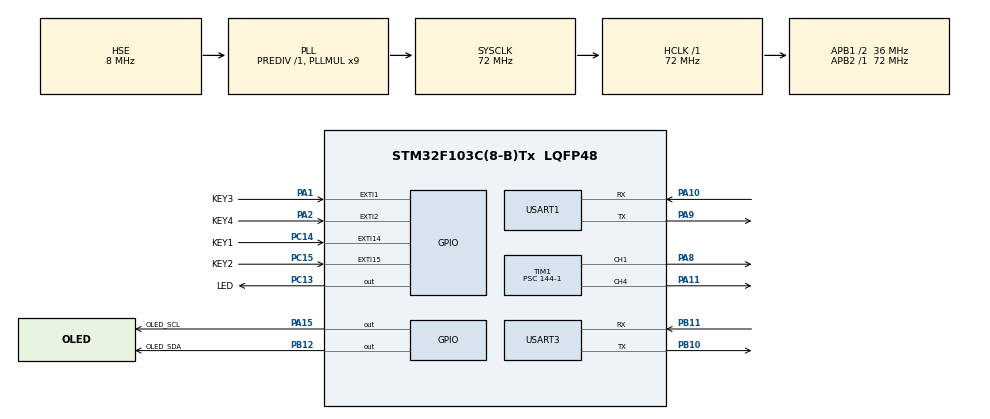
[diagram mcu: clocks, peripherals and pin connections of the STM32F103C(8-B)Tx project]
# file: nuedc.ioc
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Mcu.Family=STM32F1
Mcu.Name=STM32F103C(8-B)Tx
Mcu.Package=LQFP48
NVIC.EXTI15_10_IRQn=true\:0\:0\:false\:false\:true\:true\:true\:true
NVIC.EXTI1_IRQn=true\:0\:0\:false\:false\:true\:true\:true\:true
NVIC.EXTI2_IRQn=true\:0\:0\:false\:false\:true\:true\:true\:true
NVIC.PriorityGroup=NVIC_PRIORITYGROUP_4
NVIC.TIM3_IRQn=true\:0\:0\:false\:false\:true\:true\:true\:true
NVIC.USART1_IRQn=true\:0\:0\:false\:false\:true\:true\:true\:true
PA1.GPIO_Label=KEY3
PA1.GPIO_PuPd=GPIO_PULLUP
PA1.Signal=GPXTI1
PA10.Mode=Asynchronous
PA10.Signal=USART1_RX
PA11.Signal=S_TIM1_CH4
PA13.Mode=Serial_Wire
PA13.Signal=SYS_JTMS-SWDIO
PA14.Mode=Serial_Wire
PA14.Signal=SYS_JTCK-SWCLK
PA15.GPIO_Label=OLED_SCL
PA15.GPIO_PuPd=GPIO_PULLUP
PA15.PinState=GPIO_PIN_SET
PA15.Signal=GPIO_Output
PA2.GPIO_Label=KEY4
PA2.GPIO_PuPd=GPIO_PULLUP
PA2.Signal=GPXTI2
PA8.Signal=S_TIM1_CH1
PA9.Mode=Asynchronous
PA9.Signal=USART1_TX
PB10.Mode=Asynchronous
PB10.Signal=USART3_TX
PB11.Mode=Asynchronous
PB11.Signal=USART3_RX
PB12.GPIO_Label=OLED_SDA
PB12.GPIO_PuPd=GPIO_PULLUP
PB12.PinState=GPIO_PIN_SET
PB12.Signal=GPIO_Output
PC13-TAMPER-RTC.GPIO_Label=LED
PC13-TAMPER-RTC.Signal=GPIO_Output
PC14-OSC32_IN.GPIO_Label=KEY1
PC14-OSC32_IN.GPIO_PuPd=GPIO_PULLUP
PC14-OSC32_IN.Signal=GPXTI14
PC15-OSC32_OUT.GPIO_Label=KEY2
PC15-OSC32_OUT.GPIO_PuPd=GPIO_PULLUP
PC15-OSC32_OUT.Signal=GPXTI15
PD0-OSC_IN.Mode=HSE-External-Oscillator
PD0-OSC_IN.Signal=RCC_OSC_IN
PD1-OSC_OUT.Mode=HSE-External-Oscillator
PD1-OSC_OUT.Signal=RCC_OSC_OUT
ProjectManager.HeapSize=0x200
ProjectManager.StackSize=0x400
ProjectManager.TargetToolchain=MDK-ARM V5.32
RCC.AHBFreq_Value=72000000
RCC.APB1CLKDivider=RCC_HCLK_DIV2
RCC.APB1Freq_Value=36000000
RCC.APB1TimFreq_Value=72000000
RCC.APB2Freq_Value=72000000
RCC.APB2TimFreq_Value=72000000
RCC.HCLKFreq_Value=72000000
RCC.PLLMUL=RCC_PLL_MUL9
RCC.PLLSourceVirtual=RCC_PLLSOURCE_HSE
RCC.SYSCLKFreq_VALUE=72000000
RCC.SYSCLKSource=RCC_SYSCLKSOURCE_PLLCLK
RCC.USBFreq_Value=72000000
SH.S_TIM1_CH1.0=TIM1_CH1,PWM Generation1 CH1
SH.S_TIM1_CH4.0=TIM1_CH4,PWM Generation4 CH4
TIM1.AutoReloadPreload=TIM_AUTORELOAD_PRELOAD_ENABLE
TIM1.Channel-PWM\ Generation1\ CH1=TIM_CHANNEL_1
TIM1.Channel-PWM\ Generation4\ CH4=TIM_CHANNEL_4
TIM1.Period=10000-1
TIM1.Prescaler=144-1
TIM1.Pulse-PWM\ Generation1\ CH1=50
TIM3.AutoReloadPreload=TIM_AUTORELOAD_PRELOAD_ENABLE
TIM3.Period=65535
TIM3.Prescaler=72
USART1.VirtualMode=VM_ASYNC
USART3.VirtualMode=VM_ASYNC
VP_TIM1_VS_ClockSourceINT.Mode=Internal
VP_TIM3_VS_ClockSourceINT.Mode=Internal
board=custom

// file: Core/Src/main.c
/* USER CODE BEGIN Header */
/**
  ******************************************************************************
  * @file           : main.c
  * @brief          : Main program body
  ******************************************************************************
  * @attention
  *
  * Copyright (c) 2023 STMicroelectronics.
  * All rights reserved.
  *
  * This software is licensed under terms that can be found in the LICENSE file
  * in the root directory of this software component.
  * If no LICENSE file comes with this software, it is provided AS-IS.
  *
  ******************************************************************************
  */
/* USER CODE END Header */
#include "main.h"
#include "tim.h"
#include "usart.h"
#include "gpio.h"

/* USER CODE BEGIN Includes */

#include "stdio.h"
#include "oled.h"
#include "paixu.h"
#include "pid.h"
#include "oled_page.h"
/* USER CODE END Includes */

/* USER CODE BEGIN PTD */
//uint8_t rx_data[1];
uint8_t g_ucUsart1ReceiveData;

 uint8_t state = 0;
uint8_t g_ucaUsart2ReceiveBuffer[20];//保存串口接收有效数据的数组
uint8_t g_ucUsart1ReceivCounter=0;//串口接收计数值
uint8_t g_ucUsart1ReceiveCompletionFlag;//串口二接收完成标志位 1:接收完成 可以进行处理 0:接收未完成或者接受中

uint8_t key_flag=0;

uint16_t page=0;//当前所处的页号，0为初始界面，1为第一个题目页面，2为第二个题目页面
uint16_t page0_column=0;//初始页面中的选项编号
uint16_t page1_column=0;//第一个题目页面中的选项编号
uint16_t page2_column=0;//第二个题目页面中的选项编号
uint16_t page3_column=0;//调试页面中的选项编号
uint8_t key_flagA,key_flagB,key_flagC,key_flagD;

int move_debug;

#define speed_move  100//100
/* USER CODE END PTD */

void SystemClock_Config(void);

int main(void)
{
  /* USER CODE BEGIN 1 */
//uint8_t string[20];
  /* USER CODE END 1 */

  /* MCU Configuration--------------------------------------------------------*/

  /* Reset of all peripherals, Initializes the Flash interface and the Systick. */
  HAL_Init();

  /* Configure the system clock */
  SystemClock_Config();

  /* Initialize all configured peripherals */
  MX_GPIO_Init();
  MX_TIM1_Init();
  MX_USART1_UART_Init();
  MX_TIM3_Init();
  MX_USART3_UART_Init();
  /* USER CODE BEGIN 2 */

	OLED_Init(); //初始化OLED
    OLED_Clear();//清屏

   HAL_UART_Receive_IT(&huart1, &g_ucUsart1ReceiveData, 1);//串口接收中断

		//舵机
  HAL_TIM_PWM_Start(&htim1,TIM_CHANNEL_1);//开启定时器1 通道1 PWM输出
  HAL_TIM_PWM_Start(&htim1,TIM_CHANNEL_4);//开启定时器1 通道4 PWM输出
  HAL_TIM_PWM_Start(&htim3,TIM_CHANNEL_1);//开启定时器1 通道4 PWM输出
   __HAL_TIM_SET_COMPARE(&htim1, TIM_CHANNEL_4, 770);  //水平 PA11 750
   __HAL_TIM_SET_COMPARE(&htim1, TIM_CHANNEL_1, 740);  //竖直 PA8  605
//    HAL_Delay(2000);
//slow_motion (0, 0, 0, 250,2);

/////////////////////////////////////////////////////////////////测试区

/////////////////////////////////////////////////////////////////测试区

  /* USER CODE END 2 */

  /* Infinite loop */
  /* USER CODE BEGIN WHILE */
  while (1)
  {

//shunshizhen_4paixv_change();

		if(key_flag==1)
      {

//          HAL_Delay(2000);
//      slow_motion (0, 0, 0, 235,100);
//      slow_motion (0, 260, 235, 235,100);
//      slow_motion (260, 260, 235,0,100);
//      slow_motion (260, 260, 0,-255,100);
//      slow_motion (260, -260, -255, -255,100);
//      slow_motion (-260, -260, -255, 250,100);
//      slow_motion (-260, -260, 250, 250,100);
//      slow_motion (-260, 0, 250, 250,100);
//      slow_motion (0, 0, 250, 0,100);

//      slow_motion (0, 0, 0, -250,speed_move);
//      slow_motion (0, -250, -250, -250,speed_move);
//      slow_motion (-250, -250, -250, 250,speed_move);
//      slow_motion (-250, 0, 250, 250,speed_move);
//      slow_motion (0, 250, 250, 250,speed_move);
//      slow_motion (250, 250, 250, -250,speed_move);
//      slow_motion (250, 0, -250, -250,speed_move);
//      slow_motion (0, 0, -250, 0,speed_move);
/*111*/
//      slow_motion (0, -250, 0, -250,speed_move);
//      slow_motion (-250, -250, -250, 250,speed_move);
//      slow_motion (-250, 250, 250, 250,speed_move);
//      slow_motion (250, 250, 250, -250,speed_move);
//      slow_motion (250, -250, -250, -250,speed_move);
//      slow_motion (-250, 0, -250, 0,speed_move);

      slow_motion (0, 250, 0, 250,0);
      slow_motion (250, 250, 250, -250,speed_move);
      slow_motion (250, -250, -250, -250,speed_move);
      slow_motion (-250, -250, -250, 240+move_debug,speed_move);//240+c
      slow_motion (-250, 250, 240+move_debug, 240+move_debug,speed_move);//240+c
      slow_motion (250, 0, 250, 0,speed_move);

//      slow_motion (250, 0, -250, -250,speed_move);
//      slow_motion (0, 0, -250, 0,speed_move);
//
//          /*PC1 低片平触发，扫框*/
//      slow_motion (0, 0, 250, 0,100);
//      slow_motion (0, -270, 0, 0,100);
//      slow_motion (-270, -270, 0, 500,100);
//      slow_motion (-270, 0, 500, 500,100);
//      slow_motion (0, 280, 500, 500,100);
//      slow_motion (280, 280, 500, 0,100);
//      slow_motion (280, 0, 0, 0,100);
//      slow_motion (0, 0, 0, 0,100);

//      slow_motion (0, -70, 0, 375,100);
//          HAL_Delay(1000);
//      slow_motion (-70,105 , 375, 370,100);
//          HAL_Delay(1000);
//      slow_motion (105, 105, 370, 130,100);
//          HAL_Delay(1000);
//      slow_motion (105, -70, 130, 130,100);
//          HAL_Delay(1000);
//      slow_motion (-70, -70, 130, 375,100);
//          HAL_Delay(1000);

      key_flag=0;
      }

      /*PC15 低片平触发，复位*/
        if(key_flag==2)
      {
      slow_motion (250, 0, 240, 0,0);

      key_flag=0;
       }
      shunshizhen_4paixv_change();
        if(key_flag==3)
      {
      shunshizhen_4paixv_change();
          change_pwmset();
      key_flag=0;
       }

//

		if(g_ucUsart1ReceiveCompletionFlag == 1)
			{

////				sprintf((char *)string,"  %d  ",g_ucaUsart2ReceiveBuffer[2]-40);//显示6050数据
////				OLED_ShowString(0,1,string,12);
////				sprintf((char *)string,"  %d  ",g_ucaUsart2ReceiveBuffer[3]-40);//显示6050数据
////				OLED_ShowString(50,1,string,12);
////				sprintf((char *)string,"  %d  ",g_ucaUsart2ReceiveBuffer[4]-40);//显示6050数据
////				OLED_ShowString(0,3,string,12);
////				sprintf((char *)string,"  %d  ",g_ucaUsart2ReceiveBuffer[5]-40);//显示6050数据
////				OLED_ShowString(50,3,string,12);
////				sprintf((char *)string,"  %d  ",g_ucaUsart2ReceiveBuffer[6]-40);//显示6050数据
////				OLED_ShowString(0,5,string,12);
////				sprintf((char *)string,"  %d  ",g_ucaUsart2ReceiveBuffer[7]-40);//显示6050数据
////				OLED_ShowString(50,5,string,12);
////				sprintf((char *)string,"  %d  ",g_ucaUsart2ReceiveBuffer[8]-40);//显示6050数据
////				OLED_ShowString(0,7,string,12);
////				sprintf((char *)string,"  %d  ",g_ucaUsart2ReceiveBuffer[9]-40);//显示6050数据
////				OLED_ShowString(50,7,string,12);
//				sprintf((char *)string,"  %d  ",g_ucaUsart2ReceiveBuffer[10]);//显示6050数据
//				OLED_ShowString(0,9,string,12);
//				sprintf((char *)string,"  %d  ",g_ucaUsart2ReceiveBuffer[11]);//显示6050数据
//				OLED_ShowString(3,9,string,12);

				for(int i=0;i<20;i++) g_ucaUsart2ReceiveBuffer[i]=0x00;//清空数组
				g_ucUsart1ReceiveCompletionFlag = 0;//使用数据后置为0
			}

/////////////////////////////////////////////////////////////////测试区 随意删除不影响系统

HAL_GPIO_TogglePin(GPIOC,GPIO_PIN_13);

		oled_change();

/////////////////////////////////////////////////////////////////测试区
    /* USER CODE END WHILE */

  }
}

void SystemClock_Config(void)
{
  RCC_OscInitTypeDef RCC_OscInitStruct = {0};
  RCC_ClkInitTypeDef RCC_ClkInitStruct = {0};

  /** Initializes the RCC Oscillators according to the specified parameters
  * in the RCC_OscInitTypeDef structure.
  */
  RCC_OscInitStruct.OscillatorType = RCC_OSCILLATORTYPE_HSE;
  RCC_OscInitStruct.HSEState = RCC_HSE_ON;
  RCC_OscInitStruct.HSEPredivValue = RCC_HSE_PREDIV_DIV1;
  RCC_OscInitStruct.HSIState = RCC_HSI_ON;
  RCC_OscInitStruct.PLL.PLLState = RCC_PLL_ON;
  RCC_OscInitStruct.PLL.PLLSource = RCC_PLLSOURCE_HSE;
  RCC_OscInitStruct.PLL.PLLMUL = RCC_PLL_MUL9;
  if (HAL_RCC_OscConfig(&RCC_OscInitStruct) != HAL_OK)
  {
    Error_Handler();
  }

  /** Initializes the CPU, AHB and APB buses clocks
  */
  RCC_ClkInitStruct.ClockType = RCC_CLOCKTYPE_HCLK|RCC_CLOCKTYPE_SYSCLK
                              |RCC_CLOCKTYPE_PCLK1|RCC_CLOCKTYPE_PCLK2;
  RCC_ClkInitStruct.SYSCLKSource = RCC_SYSCLKSOURCE_PLLCLK;
  RCC_ClkInitStruct.AHBCLKDivider = RCC_SYSCLK_DIV1;
  RCC_ClkInitStruct.APB1CLKDivider = RCC_HCLK_DIV2;
  RCC_ClkInitStruct.APB2CLKDivider = RCC_HCLK_DIV1;

  if (HAL_RCC_ClockConfig(&RCC_ClkInitStruct, FLASH_LATENCY_2) != HAL_OK)
  {
    Error_Handler();
  }
}

/* USER CODE BEGIN 4 */
//////////////////////////////////////////////////////////////////////////////

/*串口中断回调函数*/
void HAL_UART_RxCpltCallback(UART_HandleTypeDef *huart)
{
  if (huart == &huart1)
  {

		//
		usartCamera_Receive_Data(g_ucUsart1ReceiveData);//通信处理功能

  }
	 HAL_UART_Receive_IT(&huart1, &g_ucUsart1ReceiveData, 1);
}

void usartCamera_Receive_Data(uint8_t data)
{
//	static uint8_t state = 0;
	if(state==0&&data==0xA5) //第一个是不是帧头0xA5
	{
		state=1;
		g_ucaUsart2ReceiveBuffer[g_ucUsart1ReceivCounter++]=data;
		HAL_UART_Receive_IT(&huart1,&g_ucUsart1ReceiveData,1);  //串口二接收数据
	}
	else if(state==1&&data==0xA6) //第二个是不是帧头0xA6
	{
		state=2;
		g_ucaUsart2ReceiveBuffer[g_ucUsart1ReceivCounter++]=data;
		HAL_UART_Receive_IT(&huart1,&g_ucUsart1ReceiveData,1);  //串口二接收数据
	}
	else if(state==2)//然后确定开头是0XA5 0XA6 就开始接收
	{
		g_ucaUsart2ReceiveBuffer[g_ucUsart1ReceivCounter++]=data;
		if(g_ucUsart1ReceivCounter>14||data==0x5B) state=3;  //接收大于9个或者接收到帧尾0X5B 就置位状态三
		HAL_UART_Receive_IT(&huart1,&g_ucUsart1ReceiveData,1);  //串口二接收数据
	}
	else if(state==3) //状态三
	{
		if(g_ucaUsart2ReceiveBuffer[g_ucUsart1ReceivCounter-1] == 0x5B)  //最后一个是不是0x5B帧尾
		{
			state = 0;//这里就可以处理数据了、处理完记得清空数组和重置标志位与计数值
			//比如根据数据设置红外旋转偏移状态
//			if(g_ucMode == 7)
//			{
				//1.设置快速 慢速右边 左边&&g_ucaUsart2ReceiveBuffer[4]==1

				/**
				 if(g_ucaUsart2ReceiveBuffer[6]==0&&g_ucaUsart2ReceiveBuffer[5]==0&&g_ucaUsart2ReceiveBuffer[3]==0&&g_ucaUsart2ReceiveBuffer[2]==0)
				 {g_cThisState=0;//前进
				 g_lHW_State=00200;
				 }
				 if(g_ucaUsart2ReceiveBuffer[6]==0&&g_ucaUsart2ReceiveBuffer[5]==1&&g_ucaUsart2ReceiveBuffer[3]==0&&g_ucaUsart2ReceiveBuffer[2]==0)
				 {g_cThisState=-1;//应该右转
				 g_lHW_State=00210;
				 }
				 if(g_ucaUsart2ReceiveBuffer[6]==1&&g_ucaUsart2ReceiveBuffer[5]==0&&g_ucaUsart2ReceiveBuffer[3]==0&&g_ucaUsart2ReceiveBuffer[2]==0)
				 {g_cThisState=-2;//快速右转
				 g_lHW_State=00201;
				 }
				 if(g_ucaUsart2ReceiveBuffer[6]==1&&g_ucaUsart2ReceiveBuffer[5]==1&&g_ucaUsart2ReceiveBuffer[3]==0&&g_ucaUsart2ReceiveBuffer[2]==0)
				 {g_cThisState=-3;//快速右转
				 g_lHW_State=00211;
				 }
				 if(g_ucaUsart2ReceiveBuffer[6]==0&&g_ucaUsart2ReceiveBuffer[5]==0&&g_ucaUsart2ReceiveBuffer[3]==1&&g_ucaUsart2ReceiveBuffer[2]==0)
				 {g_cThisState=1;//应该左转
				 g_lHW_State=01200;
				 }
                 if(g_ucaUsart2ReceiveBuffer[6]==0&&g_ucaUsart2ReceiveBuffer[5]==0&&g_ucaUsart2ReceiveBuffer[3]==0&&g_ucaUsart2ReceiveBuffer[2]==1)
				 {g_cThisState=2;//快速左转
				 g_lHW_State=10200;
				 }
                 if(g_ucaUsart2ReceiveBuffer[6]==0&&g_ucaUsart2ReceiveBuffer[5]==0&&g_ucaUsart2ReceiveBuffer[3]==1&&g_ucaUsart2ReceiveBuffer[2]==1)
				 {g_cThisState=3;//快速左转
				 g_lHW_State=1;
				 }
				 //如果都是红线 都是1 就置为相应变量 表示停止运行等
				 if(g_ucaUsart2ReceiveBuffer[6]==1&&g_ucaUsart2ReceiveBuffer[5]==1&&g_ucaUsart2ReceiveBuffer[4]==1&&g_ucaUsart2ReceiveBuffer[3]==1&&g_ucaUsart2ReceiveBuffer[2]==1)g_lHW_State=11111;

				 //五个点都没有的时候认为走到了尽头
				 if(g_ucaUsart2ReceiveBuffer[6]==0&&g_ucaUsart2ReceiveBuffer[5]==0&&g_ucaUsart2ReceiveBuffer[4]==0&&g_ucaUsart2ReceiveBuffer[3]==0&&g_ucaUsart2ReceiveBuffer[2]==0)g_lHW_State=0;
				 //只有中间是红线时候
				 if(g_ucaUsart2ReceiveBuffer[6]==0&&g_ucaUsart2ReceiveBuffer[5]==0&&g_ucaUsart2ReceiveBuffer[4]==1&&g_ucaUsart2ReceiveBuffer[3]==0&&g_ucaUsart2ReceiveBuffer[2]==0)g_lHW_State=100;

				 **/
				//2.然后清空数组
//				for(int i=0;i<10;i++) g_ucaUsart2ReceiveBuffer[i]=0x00;//清空数组
				g_ucUsart1ReceiveCompletionFlag = 1;
				//3.然后开始接收
				HAL_UART_Receive_IT(&huart1,&g_ucUsart1ReceiveData,1);  //串口二接收数据
//			}
		}
		else //不是帧尾说明通信错误重新开始接收
		{
			state=0;
			g_ucUsart1ReceivCounter =0;
			//for(int i=0;i<10;i++) g_ucaUsart2ReceiveBuffer[i]=0x00;//清空数组
			g_ucUsart1ReceiveCompletionFlag = 0;
			HAL_UART_Receive_IT(&huart1,&g_ucUsart1ReceiveData,1);  //串口二接收数据
		}
	}
	else
	{	//其他异常清空
		state=0;
		g_ucUsart1ReceivCounter =0;
		//for(int i=0;i<10;i++) g_ucaUsart2ReceiveBuffer[i]=0x00;//清空数组
		g_ucUsart1ReceiveCompletionFlag = 0;
		HAL_UART_Receive_IT(&huart1,&g_ucUsart1ReceiveData,1);  //串口二接收数据
	}
}

/*PC15 低片平触发*/
/*扫框程序*/
//void HAL_GPIO_EXTI_Callback(uint16_t GPIO_Pin)
//{

//if(GPIO_Pin == KEY2_Pin){//判断一下那个引脚触发中断
////这里编写触发中断后要执行的程序
//
//	  slow_motion (0, -250, 0, 0,1);
//      slow_motion (-250, -250, 0, 500,1);
//      slow_motion (-250, 250, 500, 500,1);
//      slow_motion (250, 250, 500, 0,1);
//      slow_motion (250, 0, 0, 0,1);
////	printf("key");
//
//HAL_GPIO_TogglePin(GPIOC,GPIO_PIN_13);//切换LED GPIO状态
//}
//}

/* USER CODE END 4 */

void Error_Handler(void)
{
  __disable_irq();
  while (1)
  {
  }
}
